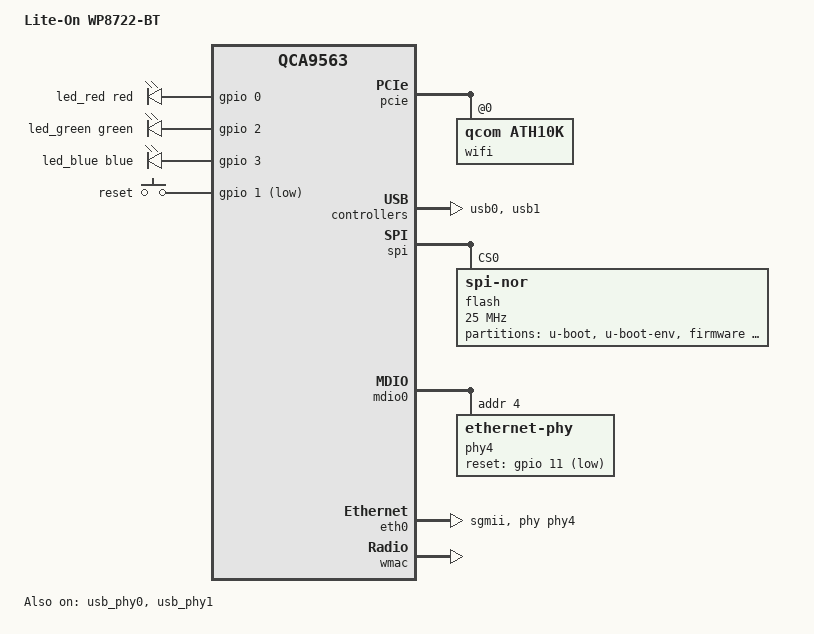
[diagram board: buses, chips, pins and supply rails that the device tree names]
// SPDX-License-Identifier: GPL-2.0-or-later OR MIT

#include "qca956x.dtsi"

#include <dt-bindings/gpio/gpio.h>
#include <dt-bindings/input/input.h>
#include <dt-bindings/leds/common.h>

/ {
	compatible = "liteon,wp8722-bt", "qca,qca9563";
	model = "Lite-On WP8722-BT";

	aliases {
		serial0 = &uart;
		label-mac-device = &eth0;

		led-boot = &led_green;
		led-failsafe = &led_red;
		led-running = &led_green;
		led-upgrade = &led_blue;
	};

	leds {
		compatible = "gpio-leds";

		led_red: status_red {
			color = <LED_COLOR_ID_RED>;
			function = LED_FUNCTION_STATUS;
			gpios = <&gpio 0 GPIO_ACTIVE_HIGH>;
		};

		led_green: status_green {
			color = <LED_COLOR_ID_GREEN>;
			function = LED_FUNCTION_STATUS;
			gpios = <&gpio 2 GPIO_ACTIVE_HIGH>;
		};

		led_blue: status_blue {
			color = <LED_COLOR_ID_BLUE>;
			function = LED_FUNCTION_STATUS;
			gpios = <&gpio 3 GPIO_ACTIVE_HIGH>;
		};
	};

	keys {
		compatible = "gpio-keys";

		reset {
			label = "reset";
			linux,code = <KEY_RESTART>;
			gpios = <&gpio 1 GPIO_ACTIVE_LOW>;
			debounce-interval = <60>;
		};
	};
};

&pcie {
	status = "okay";

	wifi@0,0 {
		compatible = "qcom,ath10k";
		reg = <0 0 0 0 0>;
		nvmem-cells = <&macaddr_art_0 1>, <&precal_art_5000>;
		nvmem-cell-names = "mac-address", "pre-calibration";
	};
};

&usb0 {
	status = "okay";
};

&usb_phy0 {
	status = "okay";
};

&usb1 {
	status = "okay";
};

&usb_phy1 {
	status = "okay";
};

&spi {
	status = "okay";

	flash@0 {
		compatible = "jedec,spi-nor";
		reg = <0>;
		spi-max-frequency = <25000000>;

		partitions {
			compatible = "fixed-partitions";
			#address-cells = <1>;
			#size-cells = <1>;

			partition@0 {
				label = "u-boot";
				reg = <0x000000 0x040000>;
				read-only;
			};

			partition@40000 {
				label = "u-boot-env";
				reg = <0x040000 0x010000>;
			};

			partition@50000 {
				label = "firmware";
				reg = <0x050000 0xd20000>;
				compatible = "denx,uimage";
			};

			partition@d70000 {
				label = "data";
				reg = <0x00d70000 0x1e0000>;
			};

			partition@f50000 {
				label = "nvram";
				reg = <0x00f50000 0x0a0000>;
			};

			partition@ff0000 {
				label = "art";
				reg = <0xff0000 0x010000>;
				read-only;

				nvmem-layout {
					compatible = "fixed-layout";
					#address-cells = <1>;
					#size-cells = <1>;

					macaddr_art_0: macaddr@0 {
						compatible = "mac-base";
						reg = <0x0 0x6>;
						#nvmem-cell-cells = <1>;
					};

					macaddr_art_6: macaddr@6 {
						reg = <0x6 0x6>;
					};

					cal_art_1000: calibration@1000 {
						reg = <0x1000 0x440>;
					};

					precal_art_5000: pre-calibration@5000 {
						reg = <0x5000 0x2f20>;
					};
				};
			};

			/*
			 * Unused flash area
			 *
			 * Physical flash: 64 MiB
			 * OEM layout ends: 16 MiB
			 *
			 * 0x01000000 - 0x04000000
			 */

			partition@1000000 {
				label = "unused";
				reg = <0x1000000 0x3000000>;
			};
		};
	};
};

&mdio0 {
	status = "okay";

	phy4: ethernet-phy@4 {
		reg = <4>;
		phy-mode = "sgmii";
		reset-gpios = <&gpio 11 GPIO_ACTIVE_LOW>;
	};
};

&eth0 {
	status = "okay";
	phy-mode = "sgmii";
	phy-handle = <&phy4>;
	pll-data = <0x03000000 0x00000101 0x00001313>;

	nvmem-cells = <&macaddr_art_6>;
	nvmem-cell-names = "mac-address";
};

&wmac {
	status = "okay";
	nvmem-cells = <&macaddr_art_0 0>, <&cal_art_1000>;
	nvmem-cell-names = "mac-address", "calibration";
};
